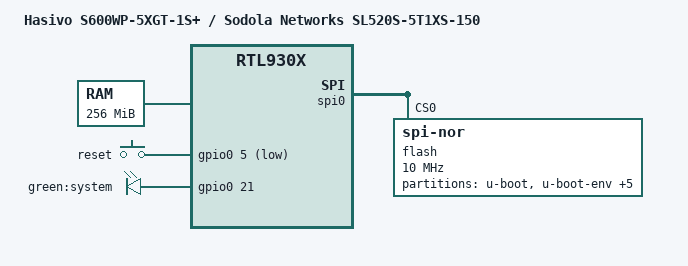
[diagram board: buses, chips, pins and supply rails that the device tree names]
// SPDX-License-Identifier: GPL-2.0-or-later
/dts-v1/;

#include "rtl930x.dtsi"

#include <dt-bindings/input/input.h>
#include <dt-bindings/gpio/gpio.h>
#include <dt-bindings/leds/common.h>

/ {
	compatible = "hasivo,s600wp-5xgt-1s-plus", "realtek,rtl930x-soc";
	model = "Hasivo S600WP-5XGT-1S+ / Sodola Networks SL520S-5T1XS-150";

	memory@0 {
		device_type = "memory";
		reg = <0x00000000 0x10000000>; /* 256 MiB */
	};

	aliases {
		led-boot = &led_sys;
		led-failsafe = &led_sys;
		led-running = &led_sys;
		led-upgrade = &led_sys;
	};

	chosen {
		stdout-path = "serial0:38400n8";
	};

	keys {
		compatible = "gpio-keys";

		button-reset {
			label = "reset";
			gpios = <&gpio0 5 GPIO_ACTIVE_LOW>;
			linux,code = <KEY_RESTART>;
		};
	};

	leds {
		compatible = "gpio-leds";

		led_sys: led-0 {
			gpios = <&gpio0 21 GPIO_ACTIVE_HIGH>;
			label = "green:system";
		};
	};

	led_set {
		compatible = "realtek,rtl9300-leds";
		active-low;

		/*
		* LED set 0
		*
		* - LED[0](Amber): 5G/LINK/ACT
		* - LED[1](Green): 10G/LINK/ACT
		* - LED[2](Amber): 1G/100M/10M/LINK/ACT
		* - LED[3](Green): 2.5G/LINK/ACT
		*/
		led_set0 = <0x0a02 0x0a01 0x0ba0 0x0a08>;
	};
};

&spi0 {
	status = "okay";

	flash@0 {
		compatible = "jedec,spi-nor";
		reg = <0>;
		spi-max-frequency = <10000000>;

		partitions {
			compatible = "fixed-partitions";
			#address-cells = <1>;
			#size-cells = <1>;

			/* stock is LOADER */
			partition@0 {
				label = "u-boot";
				reg = <0x0000000 0x00e0000>;
				read-only;
			};

			/* stock is BDINFO */
			partition@e0000 {
				label = "u-boot-env";
				reg = <0x00e0000 0x0010000>;
			};

			/* stock is SYSINFO */
			partition@f0000 {
				label = "u-boot-env2";
				reg = <0x00f0000 0x0010000>;
				read-only;
			};

			/* stock is JFFS2_CFG */
			partition@100000 {
				label = "jffs";
				reg = <0x0100000 0x0100000>;
			};

			/* stock is JFFS2_LOG */
			partition@200000 {
				label = "jffs2";
				reg = <0x0200000 0x0100000>;
			};

			/* stock is RUNTIME */
			partition@300000 {
				compatible = "openwrt,uimage", "denx,uimage";
				label = "firmware";
				reg = <0x0300000 0x0700000>;
			};

			/* stock is RUNTIME2 */
			partition@a00000 {
//TBD
				label = "oeminfo";
				reg = <0x0f00000 0x0100000>;
				read-only;
			};
		};
	};
};

&mdio_bus0 {
	/* External RTL8261BE PHYs */
//	PHY_C45(0, 0)
//	PHY_C45(8, 1)
//	PHY_C45(16, 2)
//	PHY_C45(20, 3)
};

&mdio_bus3 {
	/* External RTL8261BE PHY */
//	PHY_C45(24, 16)
};

&switch0 {
	ethernet-ports {
		#address-cells = <1>;
		#size-cells = <0>;

		port@0 {
			reg = <0>;
			label = "lan1";
			pcs-handle = <&serdes2>;
//			phy-handle = <&phy0>;
			phy-mode = "usxgmii";
			led-set = <0>;
		};

		port@8 {
			reg = <8>;
			label = "lan2";
			pcs-handle = <&serdes3>;
//			phy-handle = <&phy8>;
			phy-mode = "usxgmii";
			led-set = <0>;
		};

		port@16 {
			reg = <16>;
			label = "lan3";
			pcs-handle = <&serdes4>;
//			phy-handle = <&phy16>;
			phy-mode = "usxgmii";
			led-set = <0>;
		};

		port@20 {
			reg = <20>;
			label = "lan4";
			pcs-handle = <&serdes5>;
//			phy-handle = <&phy20>;
			phy-mode = "usxgmii";
			led-set = <0>;
		};

		port@24 {
			reg = <24>;
			label = "lan5";
			pcs-handle = <&serdes6>;
//			phy-handle = <&phy24>;
			phy-mode = "usxgmii";
			led-set = <0>;
		};

		/* Internal SoC */
		port@28 {
			ethernet = <&ethernet0>;
			reg = <28>;
			phy-mode = "internal";

			fixed-link {
				speed = <1000>;
				full-duplex;
			};
		};
	};
};
